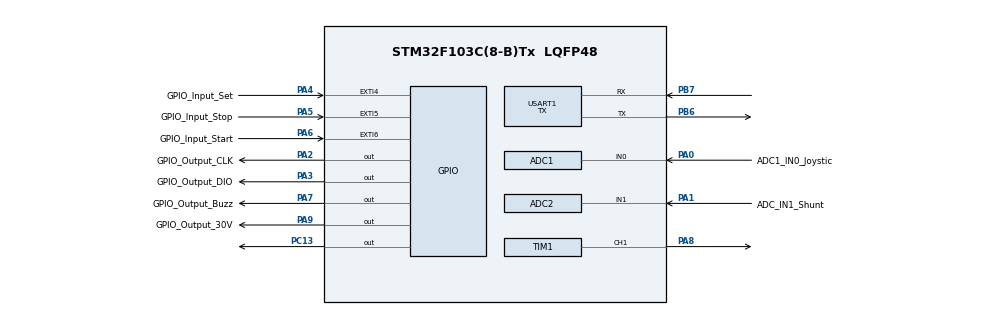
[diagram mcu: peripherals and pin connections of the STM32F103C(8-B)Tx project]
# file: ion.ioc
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ADC1.Channel-1\#ChannelRegularConversion=ADC_CHANNEL_0
ADC1.EnableRegularConversion=ENABLE
ADC1.NbrOfConversionFlag=1
ADC1.Rank-1\#ChannelRegularConversion=1
ADC1.SamplingTime-1\#ChannelRegularConversion=ADC_SAMPLETIME_1CYCLE_5
ADC1.master=1
ADC2.Channel-4\#ChannelRegularConversion=ADC_CHANNEL_1
ADC2.NbrOfConversionFlag=1
ADC2.Rank-4\#ChannelRegularConversion=1
ADC2.SamplingTime-4\#ChannelRegularConversion=ADC_SAMPLETIME_1CYCLE_5
Mcu.Family=STM32F1
Mcu.Name=STM32F103C(8-B)Tx
Mcu.Package=LQFP48
NVIC.EXTI4_IRQn=true\:0\:0\:false\:false\:true\:true
NVIC.EXTI9_5_IRQn=true\:0\:0\:false\:false\:true\:true
NVIC.PriorityGroup=NVIC_PRIORITYGROUP_4
NVIC.TIM2_IRQn=true\:0\:0\:false\:false\:true\:true
PA0-WKUP.GPIO_Label=ADC1_IN0_Joystic
PA0-WKUP.Signal=ADCx_IN0
PA1.GPIO_Label=ADC_IN1_Shunt
PA1.Signal=ADCx_IN1
PA13.Mode=Serial_Wire
PA13.Signal=SYS_JTMS-SWDIO
PA14.Mode=Serial_Wire
PA14.Signal=SYS_JTCK-SWCLK
PA2.GPIO_Label=GPIO_Output_CLK
PA2.GPIO_PuPd=GPIO_PULLUP
PA2.GPIO_Speed=GPIO_SPEED_FREQ_HIGH
PA2.Signal=GPIO_Output
PA3.GPIO_Label=GPIO_Output_DIO
PA3.GPIO_PuPd=GPIO_PULLUP
PA3.GPIO_Speed=GPIO_SPEED_FREQ_HIGH
PA3.Signal=GPIO_Output
PA4.GPIO_Label=GPIO_Input_Set
PA4.GPIO_ModeDefaultEXTI=GPIO_MODE_IT_FALLING
PA4.GPIO_PuPd=GPIO_PULLUP
PA4.Signal=GPXTI4
PA5.GPIO_Label=GPIO_Input_Stop
PA5.GPIO_ModeDefaultEXTI=GPIO_MODE_IT_FALLING
PA5.GPIO_PuPd=GPIO_PULLUP
PA5.Signal=GPXTI5
PA6.GPIO_Label=GPIO_Input_Start
PA6.GPIO_ModeDefaultEXTI=GPIO_MODE_IT_FALLING
PA6.GPIO_PuPd=GPIO_PULLUP
PA6.Signal=GPXTI6
PA7.GPIO_Label=GPIO_Output_Buzz
PA7.GPIO_PuPd=GPIO_PULLUP
PA7.Signal=GPIO_Output
PA8.Signal=S_TIM1_CH1
PA9.GPIO_Label=GPIO_Output_30V
PA9.GPIO_PuPd=GPIO_PULLDOWN
PA9.Signal=GPIO_Output
PB6.Mode=Asynchronous
PB6.Signal=USART1_TX
PB7.Mode=Asynchronous
PB7.Signal=USART1_RX
PC13-TAMPER-RTC.Signal=GPIO_Output
ProjectManager.HeapSize=0x200
ProjectManager.StackSize=0x400
ProjectManager.TargetToolchain=Makefile
RCC.APB1Freq_Value=8000000
RCC.APB2Freq_Value=8000000
SH.ADCx_IN0.0=ADC1_IN0,IN0
SH.ADCx_IN1.0=ADC2_IN1,IN1
SH.S_TIM1_CH1.0=TIM1_CH1,PWM Generation1 CH1
TIM1.Channel-PWM\ Generation1\ CH1=TIM_CHANNEL_1
TIM1.Period=100-1
TIM1.Prescaler=8-1
TIM2.Period=50
TIM2.Prescaler=3200
USART1.Mode=MODE_TX
USART1.VirtualMode=VM_ASYNC
VP_TIM2_VS_ClockSourceINT.Mode=Internal
board=custom

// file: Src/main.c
/**
  ******************************************************************************
  * @file           : main.c
  * @brief          : Main program body
  ******************************************************************************
  ** This notice applies to any and all portions of this file
  * that are not between comment pairs USER CODE BEGIN and
  * USER CODE END. Other portions of this file, whether
  * inserted by the user or by software development tools
  * are owned by their respective copyright owners.
  *
  * COPYRIGHT(c) 2019 STMicroelectronics
  *
  * Redistribution and use in source and binary forms, with or without modification,
  * are permitted provided that the following conditions are met:
  *   1. Redistributions of source code must retain the above copyright notice,
  *      this list of conditions and the following disclaimer.
  *   2. Redistributions in binary form must reproduce the above copyright notice,
  *      this list of conditions and the following disclaimer in the documentation
  *      and/or other materials provided with the distribution.
  *   3. Neither the name of STMicroelectronics nor the names of its contributors
  *      may be used to endorse or promote products derived from this software
  *      without specific prior written permission.
  *
  * THIS SOFTWARE IS PROVIDED BY THE COPYRIGHT HOLDERS AND CONTRIBUTORS "AS IS"
  * AND ANY EXPRESS OR IMPLIED WARRANTIES, INCLUDING, BUT NOT LIMITED TO, THE
  * IMPLIED WARRANTIES OF MERCHANTABILITY AND FITNESS FOR A PARTICULAR PURPOSE ARE
  * DISCLAIMED. IN NO EVENT SHALL THE COPYRIGHT HOLDER OR CONTRIBUTORS BE LIABLE
  * FOR ANY DIRECT, INDIRECT, INCIDENTAL, SPECIAL, EXEMPLARY, OR CONSEQUENTIAL
  * DAMAGES (INCLUDING, BUT NOT LIMITED TO, PROCUREMENT OF SUBSTITUTE GOODS OR
  * SERVICES; LOSS OF USE, DATA, OR PROFITS; OR BUSINESS INTERRUPTION) HOWEVER
  * CAUSED AND ON ANY THEORY OF LIABILITY, WHETHER IN CONTRACT, STRICT LIABILITY,
  * OR TORT (INCLUDING NEGLIGENCE OR OTHERWISE) ARISING IN ANY WAY OUT OF THE USE
  * OF THIS SOFTWARE, EVEN IF ADVISED OF THE POSSIBILITY OF SUCH DAMAGE.
  *
  ******************************************************************************
  */

/*
 Copyright (c) by Nazim Aliev
 All rights reserved.

 nazim.ru@gmail.com

*/

#include "main.h"
#include "stm32f1xx_hal.h"

/* USER CODE BEGIN Includes */
#include "stm32_tm1637.h"

/* USER CODE END Includes */

ADC_HandleTypeDef hadc1;
ADC_HandleTypeDef hadc2;

TIM_HandleTypeDef htim1;
TIM_HandleTypeDef htim2;

UART_HandleTypeDef huart1;

/* USER CODE BEGIN PV */
/* Private variables ---------------------------------------------------------*/

/* USER CODE END PV */

void SystemClock_Config(void);
static void MX_GPIO_Init(void);
static void MX_ADC1_Init(void);
static void MX_ADC2_Init(void);
static void MX_TIM1_Init(void);
static void MX_USART1_UART_Init(void);
static void MX_TIM2_Init(void);

void HAL_TIM_MspPostInit(TIM_HandleTypeDef *htim);

/* USER CODE BEGIN PFP */
/* Private function prototypes -----------------------------------------------*/
void ion_pwm_setvalue(uint16_t value);

/* USER CODE END PFP */

/* USER CODE BEGIN 0 */

// defined in main.h as extern

// shunt current
uint32_t ion_adc_current = 0;
// joystick data
uint32_t ion_adc_set = 0;
// max pwm value = preload (99 produced in Cube TIM1 conf)
uint16_t ion_duty_cycle = 0;
int ion_timer = 0;

bool ion_flag_set = false;
bool ion_flag_start = false;
bool ion_flag_stop = false;
bool ion_flag_tim2_busy = false;

ion_state_t ion_state = ST_BEGIN;

/* USER CODE END 0 */

int main(void)
{

  /* MCU Configuration----------------------------------------------------------*/

  /* Reset of all peripherals, Initializes the Flash interface and the Systick. */
  HAL_Init();

  /* Configure the system clock */
  SystemClock_Config();

  /* Initialize all configured peripherals */
  MX_GPIO_Init();
  MX_ADC1_Init();
  MX_ADC2_Init();
  MX_TIM1_Init();
  MX_USART1_UART_Init();
  MX_TIM2_Init();
  /* USER CODE BEGIN 2 */
	ion_flag_set = 0;
	ion_flag_start = 0;
	ion_flag_stop = 0;
	//TODO: reset 30V, set display, beep
	ion_trace(-1, (uint8_t*)"Start");
	ion_trace(-1, (uint8_t*)"\r\n");
	HAL_TIM_Base_Start(&htim1);
	HAL_TIM_PWM_Start(&htim1, TIM_CHANNEL_1);
	tm1637Init();
	HAL_GPIO_WritePin(GPIOA, GPIO_Output_30V_Pin, GPIO_PIN_RESET);
	HAL_GPIO_WritePin(GPIOA, GPIO_Output_Buzz_Pin, GPIO_PIN_RESET);

  /* USER CODE END 2 */

  /* Infinite loop */
  /* USER CODE BEGIN WHILE */
	// ==============================================================
	/*
	prescaler = 8-1 / 1MHz
	counter period = 100-1 / 10kHz 100us
	PWM 100% = 100us
	*/
	int sep = 0;
	int mode;
	int angle;

	ion_state = 0;
	int default_time = 30;
	int default_current = 8;
	ion_selected_time = default_time;
	ion_selected_current = default_current;
	ion_duty_cycle = (int)((TIM1->ARR * ion_selected_current * K_CURRENT_WR) / MAX_CURRENT);
	ion_pwm_setvalue(ion_duty_cycle);

  while (1)
  {

  /* USER CODE END WHILE */

  /* USER CODE BEGIN 3 */
		HAL_GPIO_TogglePin(GPIOC, GPIO_PIN_13);
		HAL_Delay(100);

		// get ADC data: joystick and measered current
		HAL_ADC_Start(&hadc1);
		HAL_ADC_Start(&hadc2);
		HAL_ADC_PollForConversion(&hadc1, 100);
		HAL_ADC_PollForConversion(&hadc2, 100);
		ion_adc_set = HAL_ADC_GetValue(&hadc1);
		// full ADC range=4096, joystick range = 100
		angle = ion_adc_set/41;
		ion_adc_current = HAL_ADC_GetValue(&hadc2);
		HAL_ADC_Stop(&hadc1);
		HAL_ADC_Stop(&hadc2);

		if(ion_flag_start == 1)
		{
			// start pressed
			ion_flag_start = 0;
			ion_state = ST_RUN;
			ion_timer = ion_selected_time * 60;
			HAL_GPIO_WritePin(GPIOA, GPIO_Output_30V_Pin, GPIO_PIN_SET);
			//ion_trace(-1, (uint8_t*)"START\r\n");
		};
		if(ion_flag_stop == 1)
		{
			// stop pressed
			ion_flag_stop = 0;
			ion_state = ST_BEGIN;
			HAL_GPIO_WritePin(GPIOA, GPIO_Output_30V_Pin, GPIO_PIN_RESET);
			tm1637SetBrightness(8);
			//ion_trace(-1, (uint8_t*)"STOP\r\n");
		};
		// --------------------------------------------
		// state machine
		switch(ion_state)
		{
			case ST_BEGIN:
				{
					// top level menu
					// show rotated joistick pos and return -1
					// Set pressed: return mode
					// no delay
					mode = ion_get_program(angle);
					if(mode != -1)
					{
						// ST_AUTO
						// ST_CURRENT
						// ST_TIME
						// ST_BAT
						ion_state = mode;
					}
					else
					{
						ion_state = ST_BEGIN;
					}

					break;
				}
			case ST_AUTO:
				{
					// program auto: fixed current and time
					ion_selected_current = default_current;
					ion_selected_time = default_time;
					ion_duty_cycle = (int)((TIM1->ARR * ion_selected_current * K_CURRENT_WR) / MAX_CURRENT);
					ion_pwm_setvalue(ion_duty_cycle);
					// TODO: display default current and time instead 1234
					tm1637DisplayDecimal(ion_selected_time*100 + ion_selected_current, 1);
					// transition to idle state: wait start or stop button
					ion_state = ST_AUTO;
					break;
				}
			case ST_CURRENT:
				{
					// set current. call function every while cycle time
					// until current will be selected.
					// if no current selected yet, function returns 0.
					// if stop was selected, function returns -1.
					// if current was selected function returns current
					mode = ion_set(angle, true);
					if(mode == 0)
					{
						// nothing happen, continue select current
						ion_state = ST_CURRENT;
					}
					else
					{
						// Set was pressed
						// mode = selected current
						ion_selected_current = mode;
						// if ion_selected_current = MAX_CURRENT,
						// duty cycle = timer auto reload value = 100% duty
						ion_duty_cycle = (int)((TIM1->ARR * ion_selected_current * K_CURRENT_WR) / MAX_CURRENT);
						ion_pwm_setvalue(ion_duty_cycle);

						// select time now
						ion_state = ST_TIME;
					}
					break;
				}
			case ST_TIME:
				{
					// set time. call function every while cycle time
					// until time will be selected.
					// if no time selected yet, function returns 0.
					// if stop was selected, function returns -1.
					// if time was selected function returns time
					mode = ion_set(angle, false);
					if(mode == 0)
					{
						// nothing happen, continue select time
						ion_state = ST_TIME;
					}
					else
					{
						// Set was pressed
						// mode = selected time
						ion_selected_time = mode;
						ion_state = ST_CURRENT;
					}
					break;
				}

				// TODO: set ion_selected_current, ion_selected_time to -1 after stop and end of run

			case ST_RUN:
				{
					//ion_trace(ion_selected_current, (uint8_t*)"<--current ST_RUN\r\n");
					//ion_trace(ion_selected_time, (uint8_t*)"<--time ST_RUN\r\n");
					//ion_trace(-1, (uint8_t*)"\r\n");
					// monitor timer and cancel
					mode = ion_run(angle);
					if(mode == -1)
					{
						// timer elapsed
						ion_state = ST_BEGIN;
					}
					break;
				}
			case ST_BAT:
			default:
				{
					// show battery state
					ion_bat();
					// return to top level menu
					ion_state = ST_BEGIN;
					break;
				}
		} // switch(ion_state)

		//ion_trace(ion_adc_set, (uint8_t*)"<-- Set\r\n");
		//ion_trace(ion_adc_current, (uint8_t*)"<-- ADC current\r\n");
		//ion_trace(ion_duty_cycle, (uint8_t*)"<-- Duty cycle\r\n");
		//ion_trace(ion_selected_current, (uint8_t*)"<-- selected current\r\n");
		//ion_trace(-1, (uint8_t*)"\r\n");

		//tm1637DisplayDecimal(ion_adc_set, sep);

		//fdisp = (float)ion_adc_current * scale_12bit2mv;
		//tm1637DisplayDecimal(disp, sep);

		if(sep == 0)
			sep = 1;
		else
			sep = 0;
	} // while

  /* USER CODE END 3 */

}

void SystemClock_Config(void)
{

  RCC_OscInitTypeDef RCC_OscInitStruct;
  RCC_ClkInitTypeDef RCC_ClkInitStruct;
  RCC_PeriphCLKInitTypeDef PeriphClkInit;

    /**Initializes the CPU, AHB and APB busses clocks
    */
  RCC_OscInitStruct.OscillatorType = RCC_OSCILLATORTYPE_HSI;
  RCC_OscInitStruct.HSIState = RCC_HSI_ON;
  RCC_OscInitStruct.HSICalibrationValue = 16;
  RCC_OscInitStruct.PLL.PLLState = RCC_PLL_NONE;
  if (HAL_RCC_OscConfig(&RCC_OscInitStruct) != HAL_OK)
  {
    _Error_Handler(__FILE__, __LINE__);
  }

    /**Initializes the CPU, AHB and APB busses clocks
    */
  RCC_ClkInitStruct.ClockType = RCC_CLOCKTYPE_HCLK|RCC_CLOCKTYPE_SYSCLK
                              |RCC_CLOCKTYPE_PCLK1|RCC_CLOCKTYPE_PCLK2;
  RCC_ClkInitStruct.SYSCLKSource = RCC_SYSCLKSOURCE_HSI;
  RCC_ClkInitStruct.AHBCLKDivider = RCC_SYSCLK_DIV1;
  RCC_ClkInitStruct.APB1CLKDivider = RCC_HCLK_DIV1;
  RCC_ClkInitStruct.APB2CLKDivider = RCC_HCLK_DIV1;

  if (HAL_RCC_ClockConfig(&RCC_ClkInitStruct, FLASH_LATENCY_0) != HAL_OK)
  {
    _Error_Handler(__FILE__, __LINE__);
  }

  PeriphClkInit.PeriphClockSelection = RCC_PERIPHCLK_ADC;
  PeriphClkInit.AdcClockSelection = RCC_ADCPCLK2_DIV2;
  if (HAL_RCCEx_PeriphCLKConfig(&PeriphClkInit) != HAL_OK)
  {
    _Error_Handler(__FILE__, __LINE__);
  }

    /**Configure the Systick interrupt time
    */
  HAL_SYSTICK_Config(HAL_RCC_GetHCLKFreq()/1000);

    /**Configure the Systick
    */
  HAL_SYSTICK_CLKSourceConfig(SYSTICK_CLKSOURCE_HCLK);

  /* SysTick_IRQn interrupt configuration */
  HAL_NVIC_SetPriority(SysTick_IRQn, 0, 0);
}

/* ADC1 init function */
static void MX_ADC1_Init(void)
{

  ADC_ChannelConfTypeDef sConfig;

    /**Common config
    */
  hadc1.Instance = ADC1;
  hadc1.Init.ScanConvMode = ADC_SCAN_DISABLE;
  hadc1.Init.ContinuousConvMode = DISABLE;
  hadc1.Init.DiscontinuousConvMode = DISABLE;
  hadc1.Init.ExternalTrigConv = ADC_SOFTWARE_START;
  hadc1.Init.DataAlign = ADC_DATAALIGN_RIGHT;
  hadc1.Init.NbrOfConversion = 1;
  if (HAL_ADC_Init(&hadc1) != HAL_OK)
  {
    _Error_Handler(__FILE__, __LINE__);
  }

    /**Configure Regular Channel
    */
  sConfig.Channel = ADC_CHANNEL_0;
  sConfig.Rank = ADC_REGULAR_RANK_1;
  sConfig.SamplingTime = ADC_SAMPLETIME_1CYCLE_5;
  if (HAL_ADC_ConfigChannel(&hadc1, &sConfig) != HAL_OK)
  {
    _Error_Handler(__FILE__, __LINE__);
  }

}

/* ADC2 init function */
static void MX_ADC2_Init(void)
{

  ADC_ChannelConfTypeDef sConfig;

    /**Common config
    */
  hadc2.Instance = ADC2;
  hadc2.Init.ScanConvMode = ADC_SCAN_DISABLE;
  hadc2.Init.ContinuousConvMode = DISABLE;
  hadc2.Init.DiscontinuousConvMode = DISABLE;
  hadc2.Init.ExternalTrigConv = ADC_SOFTWARE_START;
  hadc2.Init.DataAlign = ADC_DATAALIGN_RIGHT;
  hadc2.Init.NbrOfConversion = 1;
  if (HAL_ADC_Init(&hadc2) != HAL_OK)
  {
    _Error_Handler(__FILE__, __LINE__);
  }

    /**Configure Regular Channel
    */
  sConfig.Channel = ADC_CHANNEL_1;
  sConfig.Rank = ADC_REGULAR_RANK_1;
  sConfig.SamplingTime = ADC_SAMPLETIME_1CYCLE_5;
  if (HAL_ADC_ConfigChannel(&hadc2, &sConfig) != HAL_OK)
  {
    _Error_Handler(__FILE__, __LINE__);
  }

}

/* TIM1 init function */
static void MX_TIM1_Init(void)
{

  TIM_MasterConfigTypeDef sMasterConfig;
  TIM_OC_InitTypeDef sConfigOC;
  TIM_BreakDeadTimeConfigTypeDef sBreakDeadTimeConfig;

  htim1.Instance = TIM1;
  htim1.Init.Prescaler = 8-1;
  htim1.Init.CounterMode = TIM_COUNTERMODE_UP;
  htim1.Init.Period = 100-1;
  htim1.Init.ClockDivision = TIM_CLOCKDIVISION_DIV1;
  htim1.Init.RepetitionCounter = 0;
  htim1.Init.AutoReloadPreload = TIM_AUTORELOAD_PRELOAD_DISABLE;
  if (HAL_TIM_PWM_Init(&htim1) != HAL_OK)
  {
    _Error_Handler(__FILE__, __LINE__);
  }

  sMasterConfig.MasterOutputTrigger = TIM_TRGO_RESET;
  sMasterConfig.MasterSlaveMode = TIM_MASTERSLAVEMODE_DISABLE;
  if (HAL_TIMEx_MasterConfigSynchronization(&htim1, &sMasterConfig) != HAL_OK)
  {
    _Error_Handler(__FILE__, __LINE__);
  }

  sConfigOC.OCMode = TIM_OCMODE_PWM1;
  sConfigOC.Pulse = 0;
  sConfigOC.OCPolarity = TIM_OCPOLARITY_HIGH;
  sConfigOC.OCNPolarity = TIM_OCNPOLARITY_HIGH;
  sConfigOC.OCFastMode = TIM_OCFAST_DISABLE;
  sConfigOC.OCIdleState = TIM_OCIDLESTATE_RESET;
  sConfigOC.OCNIdleState = TIM_OCNIDLESTATE_RESET;
  if (HAL_TIM_PWM_ConfigChannel(&htim1, &sConfigOC, TIM_CHANNEL_1) != HAL_OK)
  {
    _Error_Handler(__FILE__, __LINE__);
  }

  sBreakDeadTimeConfig.OffStateRunMode = TIM_OSSR_DISABLE;
  sBreakDeadTimeConfig.OffStateIDLEMode = TIM_OSSI_DISABLE;
  sBreakDeadTimeConfig.LockLevel = TIM_LOCKLEVEL_OFF;
  sBreakDeadTimeConfig.DeadTime = 0;
  sBreakDeadTimeConfig.BreakState = TIM_BREAK_DISABLE;
  sBreakDeadTimeConfig.BreakPolarity = TIM_BREAKPOLARITY_HIGH;
  sBreakDeadTimeConfig.AutomaticOutput = TIM_AUTOMATICOUTPUT_DISABLE;
  if (HAL_TIMEx_ConfigBreakDeadTime(&htim1, &sBreakDeadTimeConfig) != HAL_OK)
  {
    _Error_Handler(__FILE__, __LINE__);
  }

  HAL_TIM_MspPostInit(&htim1);

}

/* TIM2 init function */
static void MX_TIM2_Init(void)
{

  TIM_ClockConfigTypeDef sClockSourceConfig;
  TIM_MasterConfigTypeDef sMasterConfig;

  htim2.Instance = TIM2;
  htim2.Init.Prescaler = 3200;
  htim2.Init.CounterMode = TIM_COUNTERMODE_UP;
  htim2.Init.Period = 50;
  htim2.Init.ClockDivision = TIM_CLOCKDIVISION_DIV1;
  htim2.Init.AutoReloadPreload = TIM_AUTORELOAD_PRELOAD_DISABLE;
  if (HAL_TIM_Base_Init(&htim2) != HAL_OK)
  {
    _Error_Handler(__FILE__, __LINE__);
  }

  sClockSourceConfig.ClockSource = TIM_CLOCKSOURCE_INTERNAL;
  if (HAL_TIM_ConfigClockSource(&htim2, &sClockSourceConfig) != HAL_OK)
  {
    _Error_Handler(__FILE__, __LINE__);
  }

  sMasterConfig.MasterOutputTrigger = TIM_TRGO_RESET;
  sMasterConfig.MasterSlaveMode = TIM_MASTERSLAVEMODE_DISABLE;
  if (HAL_TIMEx_MasterConfigSynchronization(&htim2, &sMasterConfig) != HAL_OK)
  {
    _Error_Handler(__FILE__, __LINE__);
  }

}

/* USART1 init function */
static void MX_USART1_UART_Init(void)
{

  huart1.Instance = USART1;
  huart1.Init.BaudRate = 115200;
  huart1.Init.WordLength = UART_WORDLENGTH_8B;
  huart1.Init.StopBits = UART_STOPBITS_1;
  huart1.Init.Parity = UART_PARITY_NONE;
  huart1.Init.Mode = UART_MODE_TX;
  huart1.Init.HwFlowCtl = UART_HWCONTROL_NONE;
  huart1.Init.OverSampling = UART_OVERSAMPLING_16;
  if (HAL_UART_Init(&huart1) != HAL_OK)
  {
    _Error_Handler(__FILE__, __LINE__);
  }

}

/** Configure pins as
        * Analog
        * Input
        * Output
        * EVENT_OUT
        * EXTI
*/
static void MX_GPIO_Init(void)
{

  GPIO_InitTypeDef GPIO_InitStruct;

  /* GPIO Ports Clock Enable */
  __HAL_RCC_GPIOC_CLK_ENABLE();
  __HAL_RCC_GPIOA_CLK_ENABLE();
  __HAL_RCC_GPIOB_CLK_ENABLE();

  /*Configure GPIO pin Output Level */
  HAL_GPIO_WritePin(GPIOC, GPIO_PIN_13, GPIO_PIN_RESET);

  /*Configure GPIO pin Output Level */
  HAL_GPIO_WritePin(GPIOA, GPIO_Output_CLK_Pin|GPIO_Output_DIO_Pin|GPIO_Output_Buzz_Pin|GPIO_Output_30V_Pin, GPIO_PIN_RESET);

  /*Configure GPIO pin : PC13 */
  GPIO_InitStruct.Pin = GPIO_PIN_13;
  GPIO_InitStruct.Mode = GPIO_MODE_OUTPUT_PP;
  GPIO_InitStruct.Pull = GPIO_NOPULL;
  GPIO_InitStruct.Speed = GPIO_SPEED_FREQ_LOW;
  HAL_GPIO_Init(GPIOC, &GPIO_InitStruct);

  /*Configure GPIO pins : GPIO_Output_CLK_Pin GPIO_Output_DIO_Pin */
  GPIO_InitStruct.Pin = GPIO_Output_CLK_Pin|GPIO_Output_DIO_Pin;
  GPIO_InitStruct.Mode = GPIO_MODE_OUTPUT_PP;
  GPIO_InitStruct.Pull = GPIO_PULLUP;
  GPIO_InitStruct.Speed = GPIO_SPEED_FREQ_HIGH;
  HAL_GPIO_Init(GPIOA, &GPIO_InitStruct);

  /*Configure GPIO pins : GPIO_Input_Set_Pin GPIO_Input_Stop_Pin GPIO_Input_Start_Pin */
  GPIO_InitStruct.Pin = GPIO_Input_Set_Pin|GPIO_Input_Stop_Pin|GPIO_Input_Start_Pin;
  GPIO_InitStruct.Mode = GPIO_MODE_IT_FALLING;
  GPIO_InitStruct.Pull = GPIO_PULLUP;
  HAL_GPIO_Init(GPIOA, &GPIO_InitStruct);

  /*Configure GPIO pin : GPIO_Output_Buzz_Pin */
  GPIO_InitStruct.Pin = GPIO_Output_Buzz_Pin;
  GPIO_InitStruct.Mode = GPIO_MODE_OUTPUT_PP;
  GPIO_InitStruct.Pull = GPIO_PULLUP;
  GPIO_InitStruct.Speed = GPIO_SPEED_FREQ_LOW;
  HAL_GPIO_Init(GPIO_Output_Buzz_GPIO_Port, &GPIO_InitStruct);

  /*Configure GPIO pin : GPIO_Output_30V_Pin */
  GPIO_InitStruct.Pin = GPIO_Output_30V_Pin;
  GPIO_InitStruct.Mode = GPIO_MODE_OUTPUT_PP;
  GPIO_InitStruct.Pull = GPIO_PULLDOWN;
  GPIO_InitStruct.Speed = GPIO_SPEED_FREQ_LOW;
  HAL_GPIO_Init(GPIO_Output_30V_GPIO_Port, &GPIO_InitStruct);

  /* EXTI interrupt init*/
  HAL_NVIC_SetPriority(EXTI4_IRQn, 0, 0);
  HAL_NVIC_EnableIRQ(EXTI4_IRQn);

  HAL_NVIC_SetPriority(EXTI9_5_IRQn, 0, 0);
  HAL_NVIC_EnableIRQ(EXTI9_5_IRQn);

}

/* USER CODE BEGIN 4 */

void ion_u2a(uint_fast16_t d, uint8_t* buf)
{
    buf[5] = '\0';
    buf[4] = '0' + ( d       )    % 10;
    buf[3] = '0' + ( d /= 10 )    % 10;
    buf[2] = '0' + ( d /= 10 )    % 10;
    buf[1] = '0' + ( d /= 10 )    % 10;
    buf[0] = '0' + ( d /  10 )    % 10;
}

void ion_u2a32(uint_fast32_t d, uint8_t* buf)
{
    buf[10] = '\0';
    buf[9] = '0' + ( d       )    % 10;
    buf[8] = '0' + ( d /= 10 )    % 10;
    buf[7] = '0' + ( d /= 10 )    % 10;
    buf[6] = '0' + ( d /= 10 )    % 10;
    buf[5] = '0' + ( d /= 10 )    % 10;
    buf[4] = '0' + ( d /= 10 )    % 10;
    buf[3] = '0' + ( d /= 10 )    % 10;
    buf[2] = '0' + ( d /= 10 )    % 10;
    buf[1] = '0' + ( d /= 10 )    % 10;
    buf[0] = '0' + ( d /  10 )    % 10;
}

// trace uint16 and string to UART
void ion_trace(uint16_t value, uint8_t* str)
{
    int len = 0;
    int c = 6;
    uint8_t buf[c];
    while(str[len])
    {
        len += 1;
    }
    // if value == -1 print string only
    if(value != 65535)
    {
        ion_u2a(value, buf);
        HAL_UART_Transmit(&huart1, buf, c, 500);
        HAL_UART_Transmit(&huart1, (uint8_t*)" ", 1, 500);
    }
    HAL_UART_Transmit(&huart1, str, len, 500);
}

// trace uint16 and string to UART
void ion_trace32(uint32_t value)
{
    int c = 11;
    uint8_t str[c];
    ion_u2a32(value, str);
    HAL_UART_Transmit(&huart1, str, c, 500);
    HAL_UART_Transmit(&huart1, (uint8_t*)" ", 1, 500);
}

void ion_pwm_setvalue(uint16_t value)
{
	__HAL_TIM_SET_COMPARE(&htim1, TIM_CHANNEL_1, value);
	/*
	HAL_TIM_PWM_Stop(&htim1, TIM_CHANNEL_1);
	TIM_OC_InitTypeDef sConfigOC;

	sConfigOC.OCMode = TIM_OCMODE_PWM1;
	sConfigOC.Pulse = value;
	sConfigOC.OCPolarity = TIM_OCPOLARITY_HIGH;
	sConfigOC.OCFastMode = TIM_OCFAST_DISABLE;
	HAL_TIM_PWM_ConfigChannel(&htim1, &sConfigOC, TIM_CHANNEL_1);
	HAL_TIM_PWM_Start(&htim1, TIM_CHANNEL_1);
	*/
}

/* USER CODE END 4 */

void _Error_Handler(char *file, int line)
{
  /* USER CODE BEGIN Error_Handler_Debug */
  /* User can add his own implementation to report the HAL error return state */
    ion_trace(-1,(uint8_t*)"Error Handler. Halt\r\n");
    ion_trace(line, (uint8_t*)file);

  while(1)
  {
  }
  /* USER CODE END Error_Handler_Debug */
}

/************************ (C) COPYRIGHT STMicroelectronics *****END OF FILE****/
